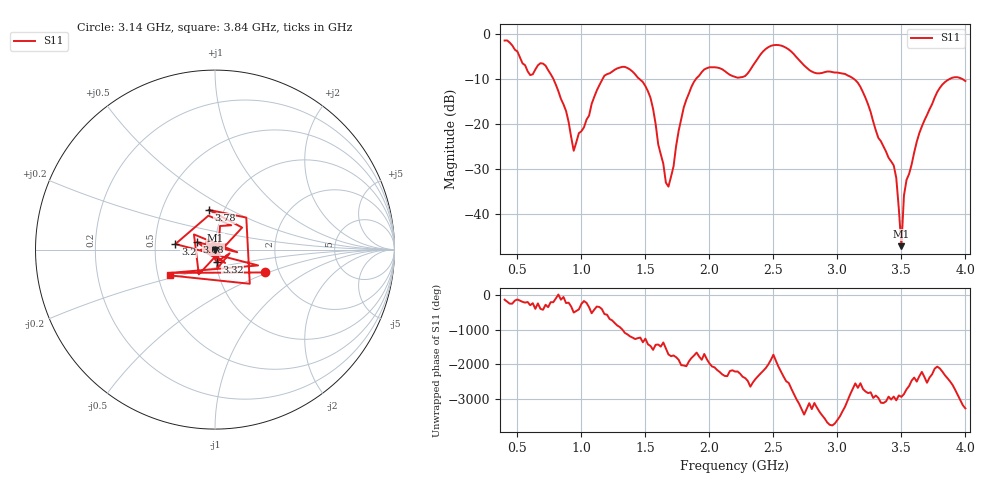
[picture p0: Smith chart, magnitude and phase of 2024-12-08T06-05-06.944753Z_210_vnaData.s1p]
!Created with skrf (http://scikit-rf.org).
# Hz S RI R 50.0
!freq ReS11 ImS11
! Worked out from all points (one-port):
!   181 points, 400 MHz to 4 GHz, reference 50 ohm
!   lowest |S11| = -47.2 dB at 3.5 GHz (marker M1), VSWR 1.01, Z = 50.3 - j0.347 ohm
!   |S11| at or under -10 dB: 780.1 MHz to 1.167 GHz (387 MHz wide, 39.8 % of centre); 1.45 GHz to 1.897 GHz (447.3 MHz wide, 26.7 % of centre); 3.125 GHz to 3.882 GHz (756.8 MHz wide, 21.6 % of centre) (the widest 3 of 4)
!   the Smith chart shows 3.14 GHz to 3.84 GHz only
!   S11 on the Smith chart (normalised r, x): 3.14 GHz: 1.68, -0.47; 3.2 GHz: 0.64, +0.04; 3.32 GHz: 1.01, -0.14; 3.68 GHz: 0.82, +0.07; 3.78 GHz: 0.85, +0.39; 3.84 GHz: 0.58, -0.18
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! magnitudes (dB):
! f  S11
! 400 MHz  -1.5
! 600 MHz  -9.2
! 720 MHz  -7.1
! 860 MHz  -15.7
! 940 MHz  -26.0
! 1.18 GHz  -9.3
! 1.3 GHz  -7.5
! 1.52 GHz  -12.8
! 1.68 GHz  -34.0
! 1.76 GHz  -21.6
! 1.86 GHz  -11.8
! 1.96 GHz  -8.0
! 2.2 GHz  -9.6
! 2.48 GHz  -2.7
! 2.66 GHz  -4.6
! 3.1 GHz  -9.5
! 3.14 GHz  -10.3
! 3.2 GHz  -13.0
! 3.32 GHz  -23.2
! 3.44 GHz  -29.3
! 3.46 GHz  -32.1
! 3.5 GHz  -47.2
! 3.52 GHz  -36.0
! 3.56 GHz  -31.2
! 3.68 GHz  -19.3
! 3.78 GHz  -13.0
! 3.84 GHz  -10.8
! 4 GHz  -10.5
